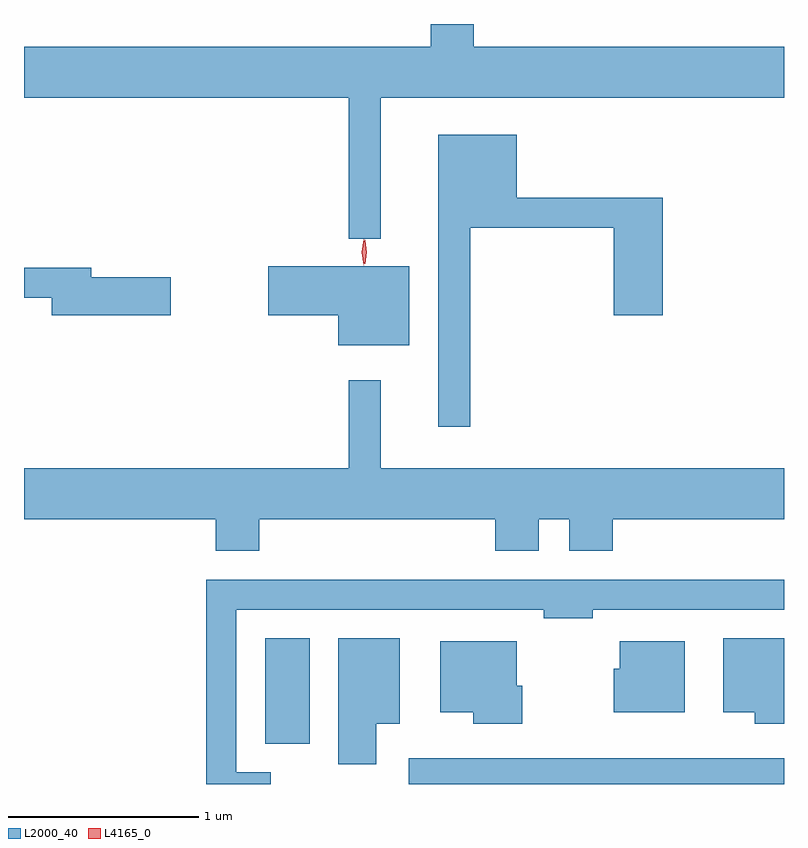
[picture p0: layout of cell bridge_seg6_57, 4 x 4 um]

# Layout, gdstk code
import gdstk
lib = gdstk.Library(unit=1e-6, precision=1e-09)
def R(c, l, rs):  # rectangles x0, y0, x1, y1
    for r in rs: c.add(gdstk.rectangle(r[:2], r[2:], *l))
def P(c, l, *ps):  # polygons
    for p in ps: c.add(gdstk.Polygon(p, *l))
L2000_40 = (2000, 40)
L4165_0 = (4165, 0)

bridge_seg6_57 = lib.new_cell('bridge_seg6_57')
R(bridge_seg6_57, L2000_40, [(1599.836,1595.263,1601.811,1595.399), (1599.081,1595.476,1599.314,1596.029)])
P(bridge_seg6_57, L2000_40, [(1599.689,1598.876),(1601.811,1598.876),(1601.811,1599.144),(1600.179,1599.144),(1600.179,1599.263),(1599.951,1599.263),(1599.951,1599.144),(1597.811,1599.144),(1597.811,1598.876),(1599.521,1598.876),(1599.521,1598.133),(1599.689,1598.133)],
  [(1600.159,1598.191),(1600.916,1598.191),(1600.916,1597.731),(1601.174,1597.731),(1601.174,1598.349),(1600.404,1598.349),(1600.404,1598.679),(1599.991,1598.679),(1599.991,1597.143),(1600.159,1597.143)],
  [(1599.839,1597.989),(1599.096,1597.989),(1599.096,1597.731),(1599.466,1597.731),(1599.466,1597.571),(1599.839,1597.571)],
  [(1598.584,1597.929),(1598.164,1597.929),(1598.164,1597.979),(1597.811,1597.979),(1597.811,1597.821),(1597.956,1597.821),(1597.956,1597.731),(1598.584,1597.731)],
  [(1599.049,1596.656),(1600.291,1596.656),(1600.291,1596.491),(1600.519,1596.491),(1600.519,1596.656),(1600.681,1596.656),(1600.681,1596.491),(1600.909,1596.491),(1600.909,1596.656),(1601.811,1596.656),(1601.811,1596.924),(1599.689,1596.924),(1599.689,1597.388),(1599.521,1597.388),(1599.521,1596.924),(1597.811,1596.924),(1597.811,1596.656),(1598.821,1596.656),(1598.821,1596.491),(1599.049,1596.491)],
  [(1599.109,1595.324),(1598.929,1595.324),(1598.929,1596.181),(1600.546,1596.181),(1600.546,1596.136),(1600.804,1596.136),(1600.804,1596.181),(1601.811,1596.181),(1601.811,1596.339),(1598.771,1596.339),(1598.771,1595.263),(1599.109,1595.263)],
  [(1601.811,1596.029),(1601.491,1596.029),(1601.491,1595.641),(1601.656,1595.641),(1601.656,1595.581),(1601.811,1595.581)],
  [(1599.664,1595.581),(1599.789,1595.581),(1599.789,1596.029),(1599.466,1596.029),(1599.466,1595.366),(1599.664,1595.366)],
  [(1601.289,1596.014),(1600.946,1596.014),(1600.946,1595.869),(1600.916,1595.869),(1600.916,1595.641),(1601.289,1595.641)],
  [(1600.434,1595.779),(1600.404,1595.779),(1600.404,1596.014),(1600.001,1596.014),(1600.001,1595.641),(1600.176,1595.641),(1600.176,1595.581),(1600.434,1595.581)])
P(bridge_seg6_57, L4165_0, [(1599.604,1598),(1599.595,1598.063),(1599.604,1598.126),(1599.605,1598.127),(1599.606,1598.126),(1599.615,1598.063),(1599.606,1598),(1599.605,1598)],
  [(1599.599,1597.994),(1599.589,1598.062),(1599.598,1598.13),(1599.598,1598.13),(1599.599,1598.13),(1599.609,1598.062),(1599.6,1597.994),(1599.6,1597.994)])

lib.write_gds('bridge_seg6_57.gds')
